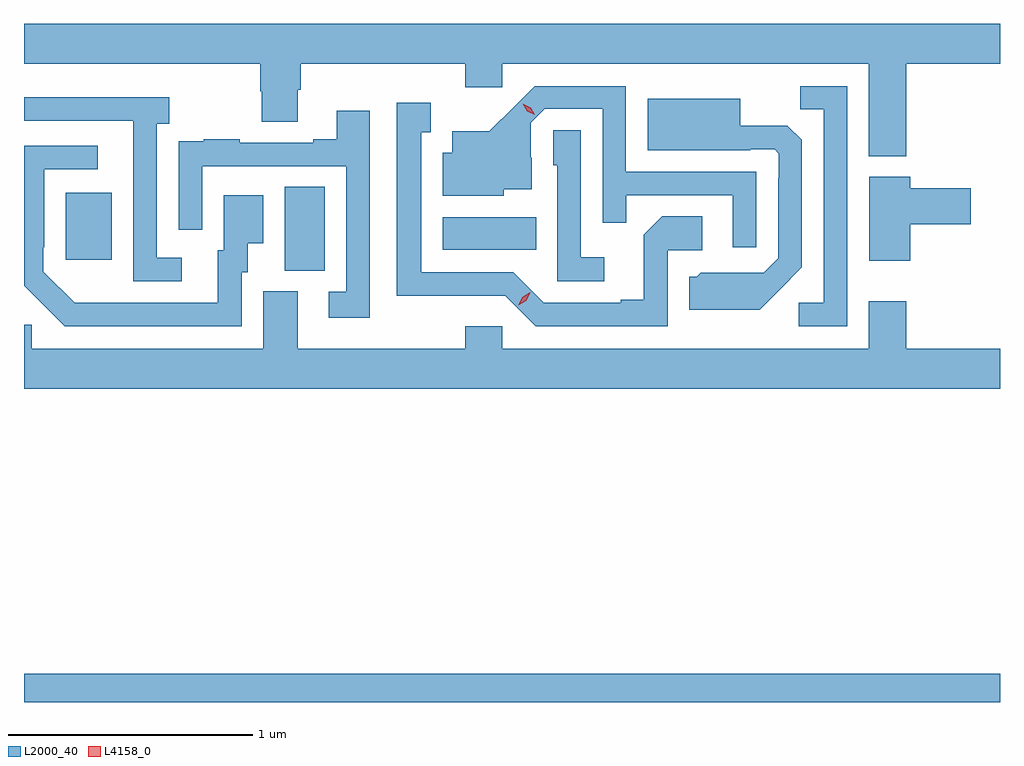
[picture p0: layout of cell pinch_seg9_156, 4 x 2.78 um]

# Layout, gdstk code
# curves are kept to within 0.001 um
import gdstk
lib = gdstk.Library(unit=1e-6, precision=1e-09)
def R(c, l, rs):  # rectangles x0, y0, x1, y1
    for r in rs: c.add(gdstk.rectangle(r[:2], r[2:], *l))
def P(c, l, *ps):  # polygons
    for p in ps: c.add(gdstk.Polygon(p, *l))
L2000_40 = (2000, 40)
L4158_0 = (4158, 0)

pinch_seg9_156 = lib.new_cell('pinch_seg9_156')
R(pinch_seg9_156, L2000_40, [(693.098,1164.5,697.098,1164.616), (694.166,1166.269,694.33,1166.612), (693.269,1166.313,693.457,1166.587), (694.814,1166.354,695.198,1166.488)])
P(pinch_seg9_156, L2000_40, [(696.713,1167.116),(697.098,1167.116),(697.098,1167.28),(693.098,1167.28),(693.098,1167.116),(694.067,1167.116),(694.067,1167.003),(694.072,1167.003),(694.072,1166.878),(694.219,1166.878),(694.219,1167.01),(694.232,1167.01),(694.232,1167.116),(694.907,1167.116),(694.907,1167.021),(695.058,1167.021),(695.058,1167.116),(696.56,1167.116),(696.56,1166.738),(696.713,1166.738)],
  [(696.471,1167.024),(696.28,1167.024),(696.28,1166.929),(696.375,1166.929),(696.375,1166.136),(696.273,1166.136),(696.273,1166.04),(696.471,1166.04)],
  [(696.099,1166.673),(695.565,1166.673),(695.565,1167.024),(695.192,1167.024),(695.005,1166.839),(694.853,1166.839),(694.853,1166.752),(694.814,1166.752),(694.814,1166.576),(695.064,1166.576),(695.064,1166.603),(695.179,1166.603),(695.179,1166.732),(695.175,1166.732),(695.175,1166.874),(695.232,1166.931),(695.469,1166.931),(695.469,1166.464),(695.567,1166.464),(695.567,1166.577),(696.003,1166.577),(696.003,1166.364),(696.099,1166.364)],
  [(693.745,1166.322),(693.642,1166.322),(693.642,1166.87),(693.694,1166.87),(693.694,1166.98),(693.098,1166.98),(693.098,1166.883),(693.545,1166.883),(693.545,1166.683),(693.546,1166.683),(693.546,1166.226),(693.745,1166.226)],
  [(696.193,1166.189),(696.285,1166.282),(696.285,1166.804),(696.226,1166.863),(696.034,1166.863),(696.034,1166.974),(695.654,1166.974),(695.654,1166.762),(696.074,1166.762),(696.074,1166.766),(696.174,1166.766),(696.192,1166.748),(696.192,1166.648),(696.189,1166.648),(696.189,1166.319),(696.129,1166.259),(695.872,1166.26),(695.856,1166.244),(695.825,1166.244),(695.825,1166.108),(696.113,1166.108)],
  [(695.736,1166.352),(695.878,1166.352),(695.878,1166.492),(695.713,1166.492),(695.637,1166.416),(695.637,1166.149),(695.543,1166.149),(695.543,1166.136),(695.229,1166.136),(695.103,1166.262),(694.726,1166.262),(694.726,1166.835),(694.765,1166.835),(694.765,1166.956),(694.625,1166.956),(694.625,1166.165),(695.07,1166.166),(695.196,1166.04),(695.736,1166.04)],
  [(694.515,1166.923),(694.379,1166.923),(694.379,1166.806),(694.283,1166.806),(694.283,1166.793),(693.983,1166.793),(693.983,1166.806),(693.835,1166.806),(693.835,1166.799),(693.733,1166.799),(693.733,1166.69),(693.732,1166.69),(693.732,1166.436),(693.828,1166.436),(693.828,1166.697),(694.419,1166.697),(694.419,1166.181),(694.347,1166.181),(694.347,1166.076),(694.515,1166.076)],
  [(695.476,1166.323),(695.379,1166.323),(695.379,1166.843),(695.268,1166.843),(695.268,1166.7),(695.283,1166.7),(695.283,1166.226),(695.476,1166.226)],
  [(693.99,1166.262),(694.015,1166.262),(694.015,1166.381),(694.078,1166.381),(694.078,1166.578),(693.917,1166.578),(693.917,1166.352),(693.893,1166.352),(693.893,1166.136),(693.306,1166.137),(693.177,1166.265),(693.177,1166.365),(693.18,1166.365),(693.18,1166.685),(693.4,1166.685),(693.4,1166.781),(693.098,1166.781),(693.098,1166.206),(693.266,1166.04),(693.99,1166.04)],
  [(696.73,1166.459),(696.979,1166.459),(696.979,1166.606),(696.73,1166.606),(696.73,1166.653),(696.563,1166.653),(696.563,1166.31),(696.73,1166.31)],
  [(697.098,1165.948),(696.713,1165.948),(696.713,1166.143),(696.56,1166.143),(696.56,1165.948),(695.058,1165.948),(695.058,1166.041),(694.907,1166.041),(694.907,1165.948),(694.219,1165.948),(694.219,1166.184),(694.079,1166.184),(694.079,1165.948),(693.129,1165.948),(693.129,1166.046),(693.098,1166.046),(693.098,1165.784),(697.098,1165.784)])
P(pinch_seg9_156, L4158_0, [(695.191,1166.907),(695.16,1166.922),(695.143,1166.952),(695.143,1166.952),(695.143,1166.952),(695.174,1166.937),(695.191,1166.907),(695.191,1166.907)],
  [(695.124,1166.126),(695.124,1166.127),(695.141,1166.159),(695.172,1166.179),(695.172,1166.179),(695.172,1166.179),(695.156,1166.146),(695.124,1166.126)])

lib.write_gds('pinch_seg9_156.gds')
